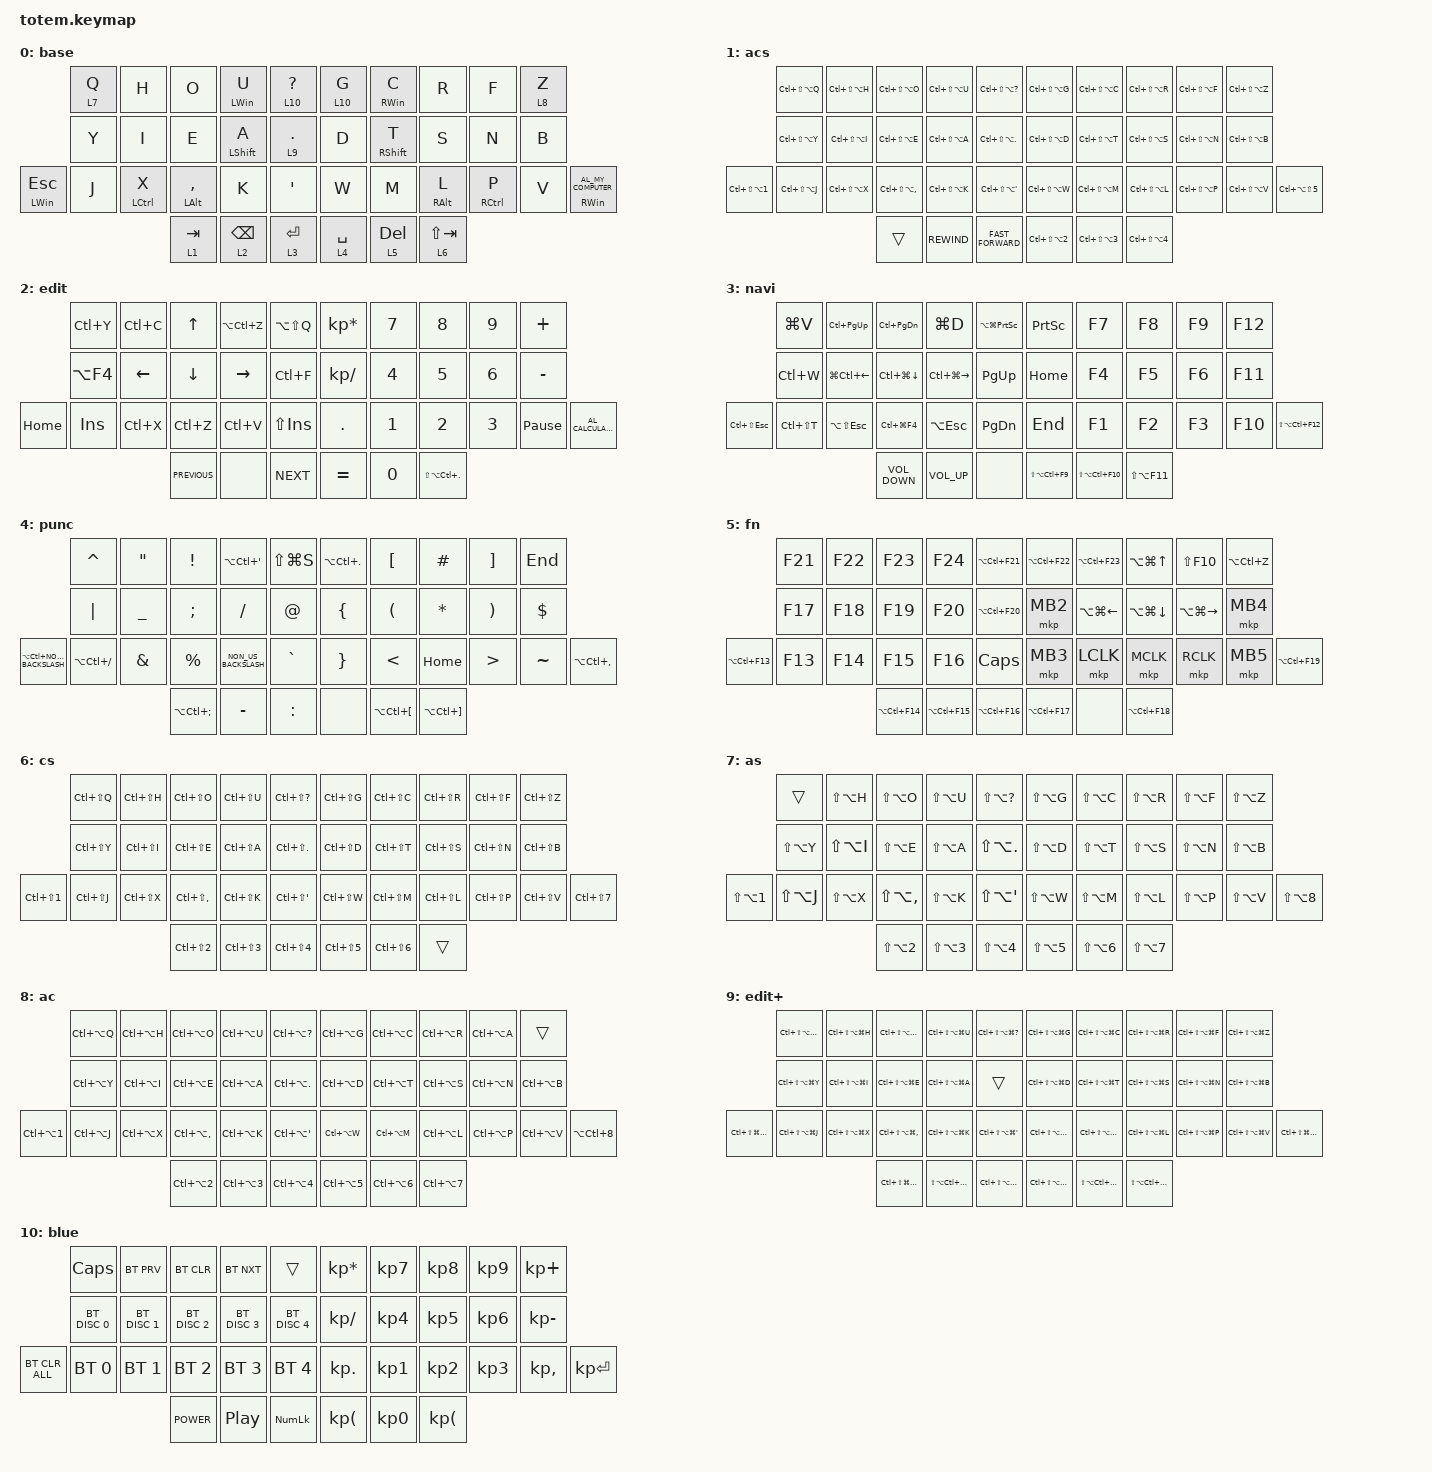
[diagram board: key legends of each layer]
//
//                                                        ▀▀▀▀▀     ▀▀▀▀▀          ▀▀█▀▀
//                                                        ▄▀▀▀▄  ▄  ▄▀▀▀▄  ▄  ▄▀▀▀▄  █  ▄▀▀▀▄
//                                                        █   █  █  █   █  █  █   █  █  █   █
//                                                         ▀▀▀   █   ▀▀▀   █   ▀▀▀   ▀   ▀▀▀
//                                                               █      ▄▄▄█▄▄▄    █   █  
//                                                               ▀      █  █  █     █▄█
//                                                             ▀▀▀▀▀    █  █  █      ▀
//                                                                      ▀  ▀  ▀
//
// ▄▄▄▄▄▄▄▄▄▄▄▄▄▄▄▄▄▄▄▄▄▄▄▄▄▄▄▄▄▄▄▄▄▄▄▄▄▄▄▄▄▄▄▄▄▄▄▄▄▄▄▄▄▄▄▄▄▄▄▄▄▄▄▄▄▄▄▄▄▄▄▄▄▄▄▄▄▄▄▄▄▄▄▄▄▄▄▄▄▄▄▄▄▄▄▄▄▄▄▄▄▄▄▄▄▄▄▄▄▄▄▄▄▄▄▄▄▄▄▄▄▄▄▄▄▄▄▄▄▄▄▄▄▄▄▄▄▄▄▄▄▄▄▄▄▄▄▄▄

#include <behaviors.dtsi>
#include <dt-bindings/zmk/bt.h>
#include <dt-bindings/zmk/keys.h>
#include <dt-bindings/zmk/pointing.h>

#define BASE 0
#define NAV  1
#define SYM  2
#define ADJ  3
#define TVP1 4
#define TVP2 5

&lt { quick-tap-ms = <200>; };

&mt {
    quick-tap-ms = <100>;
    global-quick-tap;
    flavor = "tap-preferred";
    tapping-term-ms = <170>;
};

/ {
    behaviors {
        hm: homerow_mods {
            compatible = "zmk,behavior-hold-tap";
            #binding-cells = <2>;
            tapping-term-ms = <200>;
            quick-tap-ms = <200>;
            flavor = "tap-preferred";
            bindings = <&kp>, <&kp>;
        };
    };

    macros {
        gif: gif {
            label = "giphy";
            compatible = "zmk,behavior-macro";
            #binding-cells = <0>;
            bindings =
                <&macro_press>,
                <&kp LSHFT>,
                <&macro_tap>,
                <&kp N2>,
                <&macro_release>,
                <&kp LSHFT>,
                <&macro_tap>,
                <&kp G &kp I &kp F>;
        };
    };

    combos {
        compatible = "zmk,combos";

        tab {
            timeout-ms = <100>;
            key-positions = <0 1>;
            bindings = <&kp ESCAPE>;
        };

        qmark {
            timeout-ms = <100>;
            key-positions = <3 14>;
            bindings = <&kp QUESTION>;
        };

        esc {
            timeout-ms = <100>;
            key-positions = <22 23>;
            bindings = <&kp ESCAPE>;
        };

        del {
            timeout-ms = <100>;
            key-positions = <23 24>;
            bindings = <&kp DEL>;
        };

        tab2 {
            timeout-ms = <40>;
            key-positions = <1 2>;
            bindings = <&kp TAB>;
        };

        my-pc {
            timeout-ms = <100>;
            bindings = <&kp C_AL_MY_COMPUTER>;
            key-positions = <19 31>;
        };

        tab3 {
            timeout-ms = <100>;
            bindings = <&kp TAB>;
            key-positions = <7 8>;
        };

        s-tab {
            timeout-ms = <100>;
            bindings = <&kp RS(TAB)>;
            key-positions = <8 9>;
        };

        l-shift-dn {
            timeout-ms = <120>;
            bindings = <&kp LEFT_SHIFT>;
            key-positions = <21 11>;
        };

        l-ctrl-dn {
            timeout-ms = <120>;
            bindings = <&kp LCTRL>;
            key-positions = <12 22>;
        };

        r-shift-dn {
            timeout-ms = <120>;
            bindings = <&kp RIGHT_SHIFT>;
            key-positions = <18 30>;
        };

        r-ctrl-dn {
            timeout-ms = <120>;
            bindings = <&kp RCTRL>;
            key-positions = <17 29>;
        };

        vul-up {
            bindings = <&kp C_VOLUME_UP>;
            key-positions = <5 15>;
            timeout-ms = <100>;
        };

        vul-dn {
            bindings = <&kp C_VOLUME_DOWN>;
            key-positions = <26 15>;
            timeout-ms = <100>;
        };

        l-shift {
            bindings = <&kp LEFT_SHIFT>;
            key-positions = <10 20>;
            timeout-ms = <100>;
        };

        space2 {
            bindings = <&kp GREATER_THAN>;
            key-positions = <14 25>;
            timeout-ms = <100>;
        };

        mouse-left {
            bindings = <&mkp LCLK>;
            key-positions = <27 16>;
            timeout-ms = <100>;
        };

        mouse-right {
            bindings = <&mkp RCLK>;
            key-positions = <6 16>;
            timeout-ms = <100>;
        };

        space3 {
            bindings = <&kp SPACE>;
            key-positions = <13 24>;
            timeout-ms = <100>;
        };

        home {
            bindings = <&kp HOME>;
            key-positions = <1 11>;
            timeout-ms = <100>;
        };

        end {
            bindings = <&kp END>;
            key-positions = <11 22>;
            timeout-ms = <100>;
        };

        pageup {
            bindings = <&kp PAGE_UP>;
            key-positions = <8 18>;
            timeout-ms = <100>;
        };

        pagedn {
            bindings = <&kp PAGE_DOWN>;
            key-positions = <18 29>;
            timeout-ms = <100>;
        };

        less {
            bindings = <&kp LESS_THAN>;
            key-positions = <12 23>;
            timeout-ms = <100>;
        };

        greater {
            bindings = <&kp GREATER_THAN>;
            key-positions = <17 28>;
            timeout-ms = <100>;
        };

        shift-input {
            bindings = <&kp LEFT_SHIFT>;
            key-positions = <27 28>;
        };
    };

    keymap {
        compatible = "zmk,keymap";

        // ▄▄▄▄▄▄▄▄▄▄▄▄▄▄▄▄▄▄▄▄▄▄▄▄▄▄▄▄▄▄▄▄▄▄▄▄▄▄▄▄▄▄▄▄▄▄▄▄▄▄▄▄▄▄▄▄▄▄▄▄▄▄▄▄▄▄▄▄▄▄▄▄▄▄▄▄▄▄▄▄▄▄▄▄▄▄▄▄▄▄▄▄▄▄▄▄▄▄▄▄▄▄▄▄▄▄▄▄▄▄▄▄▄▄▄▄▄▄▄▄▄▄▄▄▄▄▄▄▄▄▄▄▄▄▄▄▄▄▄▄▄▄▄▄▄▄▄▄▄

        base {
            // ┏━━━━━━━━━━━━━━━━━━━━━━━━━━━━━━━━━━━━━━━┓

            label = "base";

            // ┗━━━━━━━━━━━━━━━━━━━━━━━━━━━━━━━━━━━━━━━┛
            //             ┏━━━━━━━━━━━┳━━━━━━━━━━━┳━━━━━━━━━━━┳━━━━━━━━━━━┳━━━━━━━━━━━┓   ┏━━━━━━━━━━━┳━━━━━━━━━━━┳━━━━━━━━━━━┳━━━━━━━━━━━┳━━━━━━━━━━━┓
            //             ┃     Q     ┃     H     ┃     O     ┃     U     ┃     ?     ┃   ┃     J     ┃     L     ┃     U     ┃     Y     ┃     ;     ┃
            //             ┣━━━━━━━━━━━╋━━━━━━━━━━━╋━━━━━━━━━━━╋━━━━━━━━━━━╋━━━━━━━━━━━┫   ┣━━━━━━━━━━━╋━━━━━━━━━━━╋━━━━━━━━━━━╋━━━━━━━━━━━╋━━━━━━━━━━━┫
            //             ┃     Y     ┃     I     ┃     E     ┃     A     ┃     .     ┃   ┃     H     ┃     N     ┃     E     ┃     I     ┃     O     ┃
            // ┏━━━━━━━━━━━╋━━━━━━━━━━━╋━━━━━━━━━━━╋━━━━━━━━━━━╋━━━━━━━━━━━╋━━━━━━━━━━━┫   ┣━━━━━━━━━━━╋━━━━━━━━━━━╋━━━━━━━━━━━╋━━━━━━━━━━━╋━━━━━━━━━━━╋━━━━━━━━━━━┓
            // ┃     WIN   ┃     J     ┃     X     ┃     ,     ┃     K     ┃     '     ┃   ┃     K     ┃     M     ┃     ,     ┃     .     ┃     /     ┃     \     ┃
            // ┗━━━━━━━━━━━┻━━━━━━━━━━━┻━━━━━━━━━━━╋━━━━━━━━━━━╋━━━━━━━━━━━╋━━━━━━━━━━━┫   ┣━━━━━━━━━━━╋━━━━━━━━━━━╋━━━━━━━━━━━╋━━━━━━━━━━━┻━━━━━━━━━━━┻━━━━━━━━━━━┛
            //                                     ┃    ALT    ┃    BKSP   ┃   ENTER   ┃   ┃   SPACE   ┃    DEL    ┃    ALT    ┃
            //                                     ┗━━━━━━━━━━━┻━━━━━━━━━━━┻━━━━━━━━━━━┛   ┗━━━━━━━━━━━┻━━━━━━━━━━━┻━━━━━━━━━━━┛

            bindings = <
                     &lt 7 Q  &kp H        &kp O               &mt LEFT_WIN U   &lt 10 QUESTION    &lt 10 G     &mt RIGHT_WIN C  &kp R            &kp F        &lt 8 Z
                     &kp Y    &kp I        &kp E               &mt LSHFT A      &lt 9 PERIOD       &kp D        &mt RSHFT T      &kp S            &kp N        &kp B
&mt LEFT_WIN ESCAPE  &kp J    &mt LCTRL X  &mt LEFT_ALT COMMA  &kp K            &kp SQT            &kp W        &kp M            &mt RIGHT_ALT L  &mt RCTRL P  &kp V    &mt RIGHT_WIN C_AL_MY_COMPUTER
                                           &lt 1 TAB           &lt 2 BACKSPACE  &lt 3 ENTER        &lt 4 SPACE  &lt 5 DELETE     &lt 6 LS(TAB)
            >;
        };

        L1-acs {
            label = "acs";
            bindings = <
                          &kp LC(LS(LA(Q)))  &kp LC(LS(LA(H)))  &kp LC(LS(LA(O)))      &kp LC(LS(LA(U)))  &kp LC(LS(LA(QUESTION)))    &kp LC(LS(LA(G)))         &kp LC(LS(LA(C)))         &kp LC(LS(LA(R)))         &kp LC(LS(LA(F)))  &kp LC(LS(LA(Z)))
                          &kp LC(LS(LA(Y)))  &kp LC(LS(LA(I)))  &kp LC(LS(LA(E)))      &kp LC(LS(LA(A)))  &kp LC(LS(LA(DOT)))         &kp LC(LS(LA(D)))         &kp LC(LS(LA(T)))         &kp LC(LS(LA(S)))         &kp LC(LS(LA(N)))  &kp LC(LS(LA(B)))
&kp LC(LS(LA(NUMBER_1)))  &kp LC(LS(LA(J)))  &kp LC(LS(LA(X)))  &kp LC(LS(LA(COMMA)))  &kp LC(LS(LA(K)))  &kp LC(LS(LA(SQT)))         &kp LC(LS(LA(W)))         &kp LC(LS(LA(M)))         &kp LC(LS(LA(L)))         &kp LC(LS(LA(P)))  &kp LC(LS(LA(V)))  &kp LC(LA(LS(NUMBER_5)))
                                                                &trans                 &kp C_REWIND       &kp C_FAST_FORWARD          &kp LC(LS(LA(NUMBER_2)))  &kp LC(LS(LA(NUMBER_3)))  &kp LC(LS(LA(NUMBER_4)))
            >;
        };

        L2-edit {
            // ┏━━━━━━━━━━━━━━━━━━━━━━━━━━━━━━━━━━━━━━━┓

            label = "edit";

            // ┗━━━━━━━━━━━━━━━━━━━━━━━━━━━━━━━━━━━━━━━┛
            //             ┏━━━━━━━━━━━┳━━━━━━━━━━━┳━━━━━━━━━━━┳━━━━━━━━━━━┳━━━━━━━━━━━┓   ┏━━━━━━━━━━━┳━━━━━━━━━━━┳━━━━━━━━━━━┳━━━━━━━━━━━┳━━━━━━━━━━━┓
            //             ┃           ┃           ┃     UP    ┃           ┃     {     ┃   ┃     }     ┃     7     ┃     8     ┃     9     ┃     +     ┃
            //             ┣━━━━━━━━━━━╋━━━━━━━━━━━╋━━━━━━━━━━━╋━━━━━━━━━━━╋━━━━━━━━━━━┫   ┣━━━━━━━━━━━╋━━━━━━━━━━━╋━━━━━━━━━━━╋━━━━━━━━━━━╋━━━━━━━━━━━┫
            //             ┃   SHIFT   ┃   LEFT    ┃    DOWN   ┃   RIGHT   ┃     [     ┃   ┃     ]     ┃     4     ┃     5     ┃     6     ┃     -     ┃
            // ┏━━━━━━━━━━━╋━━━━━━━━━━━╋━━━━━━━━━━━╋━━━━━━━━━━━╋━━━━━━━━━━━╋━━━━━━━━━━━┫   ┣━━━━━━━━━━━╋━━━━━━━━━━━╋━━━━━━━━━━━╋━━━━━━━━━━━╋━━━━━━━━━━━╋━━━━━━━━━━━┓
            // ┃           ┃           ┃   P UP    ┃  C LOCK   ┃  P DOWN   ┃     (     ┃   ┃     )     ┃     1     ┃     2     ┃     3     ┃     *     ┃           ┃
            // ┗━━━━━━━━━━━┻━━━━━━━━━━━┻━━━━━━━━━━━╋━━━━━━━━━━━╋━━━━━━━━━━━╋━━━━━━━━━━━┫   ┣━━━━━━━━━━━╋━━━━━━━━━━━╋━━━━━━━━━━━╋━━━━━━━━━━━┻━━━━━━━━━━━┻━━━━━━━━━━━┛
            //                                     ┃           ┃    TAB    ┃    SPC    ┃   ┃    DEL    ┃     0     ┃           ┃
            //                                     ┗━━━━━━━━━━━┻━━━━━━━━━━━┻━━━━━━━━━━━┛   ┗━━━━━━━━━━━┻━━━━━━━━━━━┻━━━━━━━━━━━┛

            bindings = <
          &kp LC(Y)   &kp LC(C)  &kp UP_ARROW    &kp LA(LC(Z))  &kp LA(LS(Q))    &kp KP_MULTIPLY  &kp NUMBER_7  &kp NUMBER_8            &kp NUMBER_9  &kp PLUS
          &kp LA(F4)  &kp LEFT   &kp DOWN        &kp RIGHT      &kp LC(F)        &kp KP_DIVIDE    &kp NUMBER_4  &kp NUMBER_5            &kp NUMBER_6  &kp MINUS
&kp HOME  &kp INS     &kp LC(X)  &kp LC(Z)       &kp LC(V)      &kp LS(INS)      &kp PERIOD       &kp NUMBER_1  &kp NUMBER_2            &kp NUMBER_3  &kp PAUSE_BREAK  &kp C_AL_CALCULATOR
                                 &kp C_PREVIOUS  &none          &kp C_NEXT       &kp EQUAL        &kp NUMBER_0  &kp LS(LA(LC(PERIOD)))
            >;
        };

        L3-navi {
            // ┏━━━━━━━━━━━━━━━━━━━━━━━━━━━━━━━━━━━━━━━┓

            label = "navi";

            // ┗━━━━━━━━━━━━━━━━━━━━━━━━━━━━━━━━━━━━━━━┛
            //             ┏━━━━━━━━━━━┳━━━━━━━━━━━┳━━━━━━━━━━━┳━━━━━━━━━━━┳━━━━━━━━━━━┓   ┏━━━━━━━━━━━┳━━━━━━━━━━━┳━━━━━━━━━━━┳━━━━━━━━━━━┳━━━━━━━━━━━┓
            //             ┃     !     ┃     @     ┃     #     ┃     $     ┃     %     ┃   ┃     ˆ     ┃     &     ┃     Ü     ┃     '     ┃     "     ┃
            //             ┣━━━━━━━━━━━╋━━━━━━━━━━━╋━━━━━━━━━━━╋━━━━━━━━━━━╋━━━━━━━━━━━┫   ┣━━━━━━━━━━━╋━━━━━━━━━━━╋━━━━━━━━━━━╋━━━━━━━━━━━╋━━━━━━━━━━━┫
            //             ┃     Ä     ┃           ┃    SZ     ┃           ┃           ┃   ┃   MUTE    ┃   YEN     ┃   EURO    ┃  POUND    ┃     Ö     ┃
            // ┏━━━━━━━━━━━╋━━━━━━━━━━━╋━━━━━━━━━━━╋━━━━━━━━━━━╋━━━━━━━━━━━╋━━━━━━━━━━━┫   ┣━━━━━━━━━━━╋━━━━━━━━━━━╋━━━━━━━━━━━╋━━━━━━━━━━━╋━━━━━━━━━━━╋━━━━━━━━━━━┓
            // ┃           ┃  EMAIL1   ┃  EMAIL2   ┃           ┃           ┃           ┃   ┃   VOL-    ┃   VOL+    ┃   LAST    ┃   NEXT    ┃     \     ┃           ┃
            // ┗━━━━━━━━━━━┻━━━━━━━━━━━┻━━━━━━━━━━━╋━━━━━━━━━━━╋━━━━━━━━━━━╋━━━━━━━━━━━┫   ┣━━━━━━━━━━━╋━━━━━━━━━━━╋━━━━━━━━━━━╋━━━━━━━━━━━┻━━━━━━━━━━━┻━━━━━━━━━━━┛
            //                                     ┃           ┃    GIF    ┃    ADJ    ┃   ┃           ┃           ┃           ┃
            //                                     ┗━━━━━━━━━━━┻━━━━━━━━━━━┻━━━━━━━━━━━┛   ┗━━━━━━━━━━━┻━━━━━━━━━━━┻━━━━━━━━━━━┛

            bindings = <
                    &kp LG(V)      &kp LC(PAGE_UP)         &kp LC(PAGE_DOWN)  &kp LG(D)          &kp LA(LG(PRINTSCREEN))    &kp PRINTSCREEN     &kp F7               &kp F8           &kp F9  &kp F12
                    &kp LC(W)      &kp LG(LC(LEFT_ARROW))  &kp LC(LG(DOWN))   &kp LC(LG(RIGHT))  &kp PG_UP                  &kp HOME            &kp F4               &kp F5           &kp F6  &kp F11
&kp LC(LS(ESCAPE))  &kp LC(LS(T))  &kp LA(LS(ESCAPE))      &kp LC(LG(F4))     &kp LA(ESCAPE)     &kp PAGE_DOWN              &kp END             &kp F1               &kp F2           &kp F3  &kp F10  &kp LS(LA(LC(F12)))
                                                           &kp C_VOLUME_DOWN  &kp C_VOLUME_UP    &none                      &kp LS(LA(LC(F9)))  &kp LS(LA(LC(F10)))  &kp LS(LA(F11))
            >;
        };

        L4-punc {
            // ┏━━━━━━━━━━━━━━━━━━━━━━━━━━━━━━━━━━━━━━━┓

            label = "punc";

            // ┗━━━━━━━━━━━━━━━━━━━━━━━━━━━━━━━━━━━━━━━┛
            //             ┏━━━━━━━━━━━┳━━━━━━━━━━━┳━━━━━━━━━━━┳━━━━━━━━━━━┳━━━━━━━━━━━┓   ┏━━━━━━━━━━━┳━━━━━━━━━━━┳━━━━━━━━━━━┳━━━━━━━━━━━┳━━━━━━━━━━━┓
            //             ┃   RESET   ┃ BT CLEAR  ┃  OUT TOG  ┃           ┃           ┃   ┃           ┃    F7     ┃    F8     ┃    F9     ┃    F12    ┃
            //             ┣━━━━━━━━━━━╋━━━━━━━━━━━╋━━━━━━━━━━━╋━━━━━━━━━━━╋━━━━━━━━━━━┫   ┣━━━━━━━━━━━╋━━━━━━━━━━━╋━━━━━━━━━━━╋━━━━━━━━━━━╋━━━━━━━━━━━┫
            //             ┃ BOOTLOAD  ┃ BT NEXT   ┃           ┃           ┃           ┃   ┃           ┃    F4     ┃    F5     ┃    F6     ┃    F11    ┃
            // ┏━━━━━━━━━━━╋━━━━━━━━━━━╋━━━━━━━━━━━╋━━━━━━━━━━━╋━━━━━━━━━━━╋━━━━━━━━━━━┫   ┣━━━━━━━━━━━╋━━━━━━━━━━━╋━━━━━━━━━━━╋━━━━━━━━━━━╋━━━━━━━━━━━╋━━━━━━━━━━━┓
            // ┃           ┃           ┃ BT PREV   ┃           ┃           ┃           ┃   ┃           ┃    F1     ┃    F2     ┃    F3     ┃    F10    ┃           ┃
            // ┗━━━━━━━━━━━┻━━━━━━━━━━━┻━━━━━━━━━━━╋━━━━━━━━━━━╋━━━━━━━━━━━╋━━━━━━━━━━━┫   ┣━━━━━━━━━━━╋━━━━━━━━━━━╋━━━━━━━━━━━╋━━━━━━━━━━━┻━━━━━━━━━━━┻━━━━━━━━━━━┛
            //                                     ┃           ┃           ┃           ┃   ┃           ┃           ┃           ┃
            //                                     ┗━━━━━━━━━━━┻━━━━━━━━━━━┻━━━━━━━━━━━┛   ┗━━━━━━━━━━━┻━━━━━━━━━━━┻━━━━━━━━━━━┛

            bindings = <
                              &kp CARET          &kp DOUBLE_QUOTES  &kp EXCLAMATION        &kp LA(LC(SQT))       &kp LS(LG(S))    &kp LA(LC(PERIOD))  &kp LEFT_BRACKET          &kp HASH                   &kp RIGHT_BRACKET      &kp END
                              &kp PIPE           &kp UNDERSCORE     &kp SEMICOLON          &kp SLASH             &kp AT_SIGN      &kp LEFT_BRACE      &kp LEFT_PARENTHESIS      &kp ASTERISK               &kp RIGHT_PARENTHESIS  &kp DOLLAR
&kp LA(LC(NON_US_BACKSLASH))  &kp LA(LC(SLASH))  &kp AMPERSAND      &kp PERCENT            &kp NON_US_BACKSLASH  &kp GRAVE        &kp RIGHT_BRACE     &kp LESS_THAN             &kp HOME                   &kp GREATER_THAN       &kp TILDE   &kp LA(LC(COMMA))
                                                                    &kp LA(LC(SEMICOLON))  &kp MINUS             &kp COLON        &none               &kp LA(LC(LEFT_BRACKET))  &kp LA(LC(RIGHT_BRACKET))
            >;
        };

        L5-hifn {
            // ┏━━━━━━━━━━━━━━━━━━━━━━━━━━━━━━━━━━━━━━━┓

            label = "fn";

            // ┗━━━━━━━━━━━━━━━━━━━━━━━━━━━━━━━━━━━━━━━┛
            //             ┏━━━━━━━━━━━┳━━━━━━━━━━━┳━━━━━━━━━━━┳━━━━━━━━━━━┳━━━━━━━━━━━┓   ┏━━━━━━━━━━━┳━━━━━━━━━━━┳━━━━━━━━━━━┳━━━━━━━━━━━┳━━━━━━━━━━━┓
            //             ┃ NEXT FILE ┃ MARK IN   ┃ ROTATE    ┃ MARK OUT  ┃ SHOW SNAP ┃   ┃           ┃           ┃           ┃           ┃           ┃
            //             ┣━━━━━━━━━━━╋━━━━━━━━━━━╋━━━━━━━━━━━╋━━━━━━━━━━━╋━━━━━━━━━━━┫   ┣━━━━━━━━━━━╋━━━━━━━━━━━╋━━━━━━━━━━━╋━━━━━━━━━━━╋━━━━━━━━━━━┫
            //             ┃ TVP II    ┃ LEFT      ┃ PAN       ┃ RIGHT     ┃ PLAY/FLIP ┃   ┃           ┃           ┃           ┃           ┃           ┃
            // ┏━━━━━━━━━━━╋━━━━━━━━━━━╋━━━━━━━━━━━╋━━━━━━━━━━━╋━━━━━━━━━━━╋━━━━━━━━━━━┫   ┣━━━━━━━━━━━╋━━━━━━━━━━━╋━━━━━━━━━━━╋━━━━━━━━━━━╋━━━━━━━━━━━╋━━━━━━━━━━━┓
            // ┃ FULLSCR   ┃ SHIFT     ┃ COPY      ┃ DELETE    ┃ PASTE     ┃ IMG MARK  ┃   ┃           ┃           ┃           ┃           ┃           ┃           ┃
            // ┗━━━━━━━━━━━┻━━━━━━━━━━━┻━━━━━━━━━━━╋━━━━━━━━━━━╋━━━━━━━━━━━╋━━━━━━━━━━━┫   ┣━━━━━━━━━━━╋━━━━━━━━━━━╋━━━━━━━━━━━╋━━━━━━━━━━━┻━━━━━━━━━━━┻━━━━━━━━━━━┛
            //                                     ┃           ┃ UNDO/SAVE ┃  SEL/MOV  ┃   ┃           ┃           ┃           ┃
            //                                     ┗━━━━━━━━━━━┻━━━━━━━━━━━┻━━━━━━━━━━━┛   ┗━━━━━━━━━━━┻━━━━━━━━━━━┻━━━━━━━━━━━┛

            bindings = <
                 &kp F21  &kp F22  &kp F23          &kp F24          &kp LA(LC(F21))    &kp LA(LC(F22))  &kp LA(LC(F23))   &kp LA(LG(UP_ARROW))  &kp LS(F10)        &kp LA(LC(Z))
                 &kp F17  &kp F18  &kp F19          &kp F20          &kp LA(LC(F20))    &mkp MB2         &kp LA(LG(LEFT))  &kp LA(LG(DOWN))      &kp LA(LG(RIGHT))  &mkp MB4
&kp LA(LC(F13))  &kp F13  &kp F14  &kp F15          &kp F16          &kp CAPS           &mkp MB3         &mkp LCLK         &mkp MCLK             &mkp RCLK          &mkp MB5       &kp LA(LC(F19))
                                   &kp LA(LC(F14))  &kp LA(LC(F15))  &kp LA(LC(F16))    &kp LA(LC(F17))  &none             &kp LA(LC(F18))
            >;
        };

        L6-cs {
            label = "cs";
            bindings = <
                      &kp LC(LS(Q))  &kp LC(LS(H))  &kp LC(LS(O))         &kp LC(LS(U))         &kp LC(LS(QUESTION))    &kp LC(LS(G))         &kp LC(LS(C))         &kp LC(LS(R))  &kp LC(LS(F))  &kp LC(LS(Z))
                      &kp LC(LS(Y))  &kp LC(LS(I))  &kp LC(LS(E))         &kp LC(LS(A))         &kp LC(LS(DOT))         &kp LC(LS(D))         &kp LC(LS(T))         &kp LC(LS(S))  &kp LC(LS(N))  &kp LC(LS(B))
&kp LC(LS(NUMBER_1))  &kp LC(LS(J))  &kp LC(LS(X))  &kp LC(LS(COMMA))     &kp LC(LS(K))         &kp LC(LS(SQT))         &kp LC(LS(W))         &kp LC(LS(M))         &kp LC(LS(L))  &kp LC(LS(P))  &kp LC(LS(V))  &kp LC(LS(NUMBER_7))
                                                    &kp LC(LS(NUMBER_2))  &kp LC(LS(NUMBER_3))  &kp LC(LS(NUMBER_4))    &kp LC(LS(NUMBER_5))  &kp LC(LS(NUMBER_6))  &trans
            >;
        };

        L7-pinky {
            label = "as";
            bindings = <
                      &trans         &kp LS(LA(H))  &kp LS(LA(O))         &kp LS(LA(U))         &kp LS(LA(QUESTION))    &kp LS(LA(G))   &kp LS(LA(C))         &kp LS(LA(R))   &kp LS(LA(F))  &kp LS(LA(Z))
                      &kp LS(LA(Y))  &kp LS(LA(I))  &kp LS(LA(E))         &kp LS(LA(A))         &kp LS(LA(DOT))         &kp LS(LA(D))   &kp LS(LA(T))         &kp LS(LA(S))   &kp LS(LA(N))  &kp LS(LA(B))
&kp LS(LA(NUMBER_1))  &kp LS(LA(J))  &kp LS(LA(X))  &kp LS(LA(COMMA))     &kp LS(LA(K))         &kp LS(LA(SQT))         &kp LS(LA(W))   &kp LS(LA(M))         &kp LS(LA(L))   &kp LS(LA(P))  &kp LS(LA(V))  &kp LS(LA(NUMBER_8))
                                                    &kp LS(LA(NUMBER_2))  &kp LS(LA(NUMBER_3))  &kp LS(LA(NUMBER_4))    &kp LS(LA(N5))  &kp LS(LA(NUMBER_6))  &kp LS(LA(N7))
            >;
        };

        L8-pinky {
            label = "ac";
            bindings = <
                      &kp LC(LA(Q))  &kp LC(LA(H))  &kp LC(LA(O))         &kp LC(LA(U))         &kp LC(LA(QUESTION))    &kp LC(LA(G))         &kp LC(LA(C))         &kp LC(LA(R))         &kp LC(LA(A))  &trans
                      &kp LC(LA(Y))  &kp LC(LA(I))  &kp LC(LA(E))         &kp LC(LA(A))         &kp LC(LA(DOT))         &kp LC(LA(D))         &kp LC(LA(T))         &kp LC(LA(S))         &kp LC(LA(N))  &kp LC(LA(B))
&kp LC(LA(NUMBER_1))  &kp LC(LA(J))  &kp LC(LA(X))  &kp LC(LA(COMMA))     &kp LC(LA(K))         &kp LC(LA(SQT))         &kp LC(LA(W))         &kp LC(LA(M))         &kp LC(LA(L))         &kp LC(LA(P))  &kp LC(LA(V))  &kp LA(LC(NUMBER_8))
                                                    &kp LC(LA(NUMBER_2))  &kp LC(LA(NUMBER_3))  &kp LC(LA(NUMBER_4))    &kp LC(LA(NUMBER_5))  &kp LC(LA(NUMBER_6))  &kp LC(LA(NUMBER_7))
            >;
        };

        L9-edit+ {
            label = "edit+";
            bindings = <
                        &kp LC(LS(LA(LG(Q))))  &kp LC(LS(LA(LG(H))))  &kp LC(LS(LA(LG(O))))      &kp LC(LS(LA(LG(U))))   &kp LC(LS(LA(LG(QUESTION))))    &kp LC(LS(LA(LG(G))))   &kp LC(LS(LA(LG(C))))    &kp LC(LS(LA(LG(R))))    &kp LC(LS(LA(LG(F))))  &kp LC(LS(LA(LG(Z))))
                        &kp LC(LS(LA(LG(Y))))  &kp LC(LS(LA(LG(I))))  &kp LC(LS(LA(LG(E))))      &kp LC(LS(LA(LG(A))))   &trans                          &kp LC(LS(LA(LG(D))))   &kp LC(LS(LA(LG(T))))    &kp LC(LS(LA(LG(S))))    &kp LC(LS(LA(LG(N))))  &kp LC(LS(LA(LG(B))))
&kp LC(LS(LG(LA(F5))))  &kp LC(LS(LA(LG(J))))  &kp LC(LS(LA(LG(X))))  &kp LC(LS(LA(LG(COMMA))))  &kp LC(LS(LA(LG(K))))   &kp LC(LS(LA(LG(SQT))))         &kp LC(LS(LA(LG(W))))   &kp LC(LS(LA(LG(M))))    &kp LC(LS(LA(LG(L))))    &kp LC(LS(LA(LG(P))))  &kp LC(LS(LA(LG(V))))  &kp LC(LS(LG(LA(F12))))
                                                                      &kp LC(LS(LG(LA(F6))))     &kp LS(LA(LC(LG(F7))))  &kp LC(LS(LA(LG(F8))))          &kp LC(LS(LA(LG(F9))))  &kp LS(LA(LC(LG(F10))))  &kp LS(LA(LC(LG(F11))))
            >;
        };

        L10-blue {
            // ┏━━━━━━━━━━━━━━━━━━━━━━━━━━━━━━━━━━━━━━━┓

            label = "blue";

            // ┗━━━━━━━━━━━━━━━━━━━━━━━━━━━━━━━━━━━━━━━┛
            //             ┏━━━━━━━━━━━┳━━━━━━━━━━━┳━━━━━━━━━━━┳━━━━━━━━━━━┳━━━━━━━━━━━┓   ┏━━━━━━━━━━━┳━━━━━━━━━━━┳━━━━━━━━━━━┳━━━━━━━━━━━┳━━━━━━━━━━━┓
            //             ┃ SOLO      ┃ TOGGLE IN ┃ RESET ROT ┃ TOGGLE OUT┃ TAKE SNAP ┃   ┃           ┃           ┃           ┃           ┃           ┃
            //             ┣━━━━━━━━━━━╋━━━━━━━━━━━╋━━━━━━━━━━━╋━━━━━━━━━━━╋━━━━━━━━━━━┫   ┣━━━━━━━━━━━╋━━━━━━━━━━━╋━━━━━━━━━━━╋━━━━━━━━━━━╋━━━━━━━━━━━┫
            //             ┃ ---       ┃ LAST KEY  ┃ NEW KEY   ┃ NEXT KEY  ┃ ENTER     ┃   ┃           ┃           ┃           ┃           ┃           ┃
            // ┏━━━━━━━━━━━╋━━━━━━━━━━━╋━━━━━━━━━━━╋━━━━━━━━━━━╋━━━━━━━━━━━╋━━━━━━━━━━━┫   ┣━━━━━━━━━━━╋━━━━━━━━━━━╋━━━━━━━━━━━╋━━━━━━━━━━━╋━━━━━━━━━━━╋━━━━━━━━━━━┓
            // ┃           ┃ FULLSCR   ┃ CPY2BRUSH ┃ DEL HEAD  ┃ PSTinPLACE┃ BOOK MARK ┃   ┃           ┃           ┃           ┃           ┃           ┃           ┃
            // ┗━━━━━━━━━━━┻━━━━━━━━━━━┻━━━━━━━━━━━╋━━━━━━━━━━━╋━━━━━━━━━━━╋━━━━━━━━━━━┫   ┣━━━━━━━━━━━╋━━━━━━━━━━━╋━━━━━━━━━━━╋━━━━━━━━━━━┻━━━━━━━━━━━┻━━━━━━━━━━━┛
            //                                     ┃           ┃ REDO/SAV1 ┃TRANS/WARP ┃   ┃           ┃           ┃           ┃
            //                                     ┗━━━━━━━━━━━┻━━━━━━━━━━━┻━━━━━━━━━━━┛   ┗━━━━━━━━━━━┻━━━━━━━━━━━┻━━━━━━━━━━━┛

            bindings = <
                &kp CAPS       &bt BT_PRV     &bt BT_CLR     &bt BT_NXT        &trans           &kp KP_MULTIPLY          &kp KP_NUMBER_7  &kp KP_NUMBER_8          &kp KP_NUMBER_9  &kp KP_PLUS
                &bt BT_DISC 0  &bt BT_DISC 1  &bt BT_DISC 2  &bt BT_DISC 3     &bt BT_DISC 4    &kp KP_DIVIDE            &kp KP_NUMBER_4  &kp KP_NUMBER_5          &kp KP_NUMBER_6  &kp KP_MINUS
&bt BT_CLR_ALL  &bt BT_SEL 0   &bt BT_SEL 1   &bt BT_SEL 2   &bt BT_SEL 3      &bt BT_SEL 4     &kp KP_DOT               &kp KP_NUMBER_1  &kp KP_NUMBER_2          &kp KP_NUMBER_3  &kp KP_COMMA  &kp KP_ENTER
                                              &kp C_POWER    &kp C_PLAY_PAUSE  &kp KP_NUM       &kp KP_LEFT_PARENTHESIS  &kp KP_NUMBER_0  &kp KP_LEFT_PARENTHESIS
            >;
        };
    };
};
